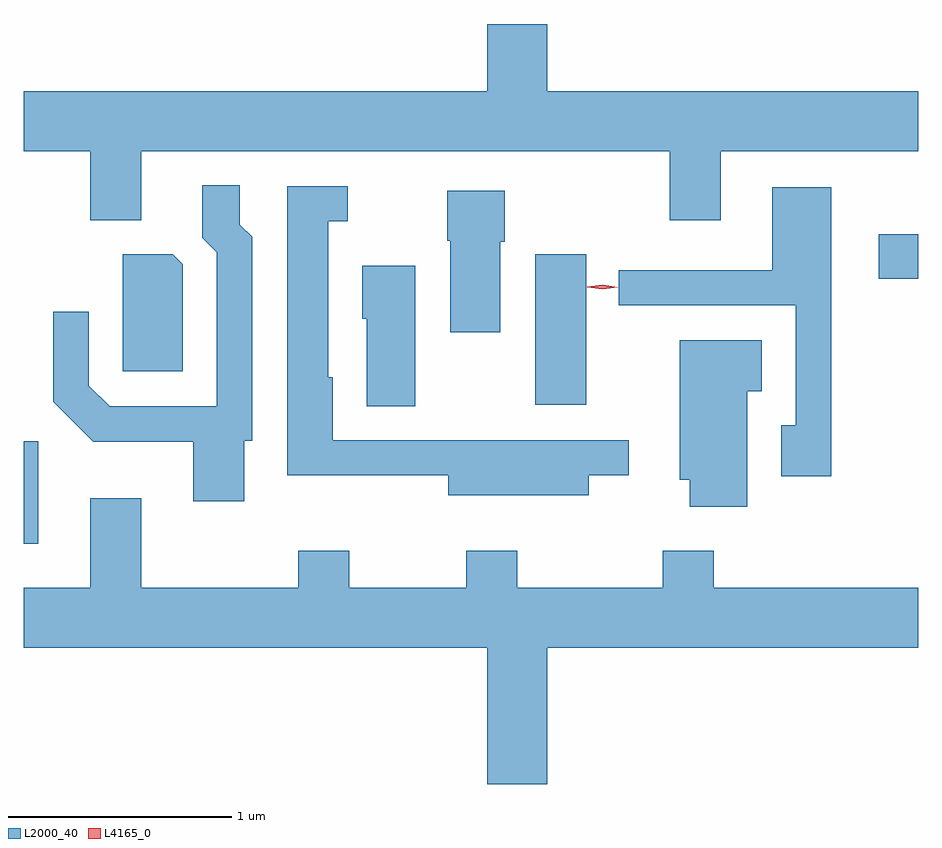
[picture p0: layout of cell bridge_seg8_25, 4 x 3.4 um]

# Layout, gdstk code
import gdstk
lib = gdstk.Library(unit=1e-6, precision=1e-09)
def R(c, l, rs):  # rectangles x0, y0, x1, y1
    for r in rs: c.add(gdstk.rectangle(r[:2], r[2:], *l))
def P(c, l, *ps):  # polygons
    for p in ps: c.add(gdstk.Polygon(p, *l))
L2000_40 = (2000, 40)
L4165_0 = (4165, 0)

bridge_seg8_25 = lib.new_cell('bridge_seg8_25')
R(bridge_seg8_25, L2000_40, [(1731.483,1932.341,1731.549,1932.799), (1733.771,1932.961,1733.999,1933.634), (1735.306,1933.526,1735.483,1933.724)])
P(bridge_seg8_25, L2000_40, [(1732.009,1934.096),(1734.371,1934.096),(1734.371,1933.786),(1734.599,1933.786),(1734.599,1934.096),(1735.483,1934.096),(1735.483,1934.364),(1733.824,1934.364),(1733.824,1934.664),(1733.556,1934.664),(1733.556,1934.364),(1731.483,1934.364),(1731.483,1934.096),(1731.781,1934.096),(1731.781,1933.786),(1732.009,1933.786)],
  [(1732.469,1932.801),(1732.504,1932.801),(1732.504,1933.712),(1732.449,1933.767),(1732.449,1933.943),(1732.281,1933.943),(1732.281,1933.709),(1732.346,1933.644),(1732.346,1932.954),(1731.867,1932.954),(1731.774,1933.047),(1731.774,1933.378),(1731.616,1933.378),(1731.616,1932.974),(1731.794,1932.796),(1732.241,1932.796),(1732.241,1932.531),(1732.469,1932.531)],
  [(1734.009,1932.646),(1734.188,1932.646),(1734.188,1932.804),(1732.864,1932.804),(1732.864,1933.084),(1732.844,1933.084),(1732.844,1933.781),(1732.933,1933.781),(1732.933,1933.939),(1732.661,1933.939),(1732.661,1932.646),(1733.381,1932.646),(1733.381,1932.556),(1734.009,1932.556)],
  [(1735.094,1933.934),(1734.831,1933.934),(1734.831,1933.564),(1734.143,1933.564),(1734.143,1933.406),(1734.936,1933.406),(1734.936,1932.869),(1734.871,1932.869),(1734.871,1932.641),(1735.094,1932.641)],
  [(1733.614,1933.691),(1733.634,1933.691),(1733.634,1933.919),(1733.376,1933.919),(1733.376,1933.695),(1733.391,1933.695),(1733.391,1933.286),(1733.614,1933.286)],
  [(1732.194,1933.589),(1732.149,1933.634),(1731.926,1933.634),(1731.926,1933.111),(1732.194,1933.111)],
  [(1733.234,1933.584),(1732.996,1933.584),(1732.996,1933.346),(1733.016,1933.346),(1733.016,1932.956),(1733.234,1932.956)],
  [(1734.719,1933.021),(1734.784,1933.021),(1734.784,1933.249),(1734.416,1933.249),(1734.416,1932.626),(1734.461,1932.626),(1734.461,1932.506),(1734.719,1932.506)],
  [(1733.824,1931.876),(1735.483,1931.876),(1735.483,1932.144),(1734.569,1932.144),(1734.569,1932.309),(1734.341,1932.309),(1734.341,1932.144),(1733.689,1932.144),(1733.689,1932.309),(1733.461,1932.309),(1733.461,1932.144),(1732.939,1932.144),(1732.939,1932.309),(1732.711,1932.309),(1732.711,1932.144),(1732.009,1932.144),(1732.009,1932.544),(1731.781,1932.544),(1731.781,1932.144),(1731.483,1932.144),(1731.483,1931.876),(1733.556,1931.876),(1733.556,1931.266),(1733.824,1931.266)])
P(bridge_seg8_25, L4165_0, [(1734.071,1933.478),(1734.003,1933.488),(1734.002,1933.488),(1734.003,1933.489),(1734.071,1933.498),(1734.14,1933.488),(1734.14,1933.488),(1734.14,1933.487)],
  [(1734.071,1933.478),(1734.005,1933.487),(1734.005,1933.488),(1734.005,1933.488),(1734.071,1933.498),(1734.137,1933.488),(1734.137,1933.488),(1734.137,1933.487)])

lib.write_gds('bridge_seg8_25.gds')
